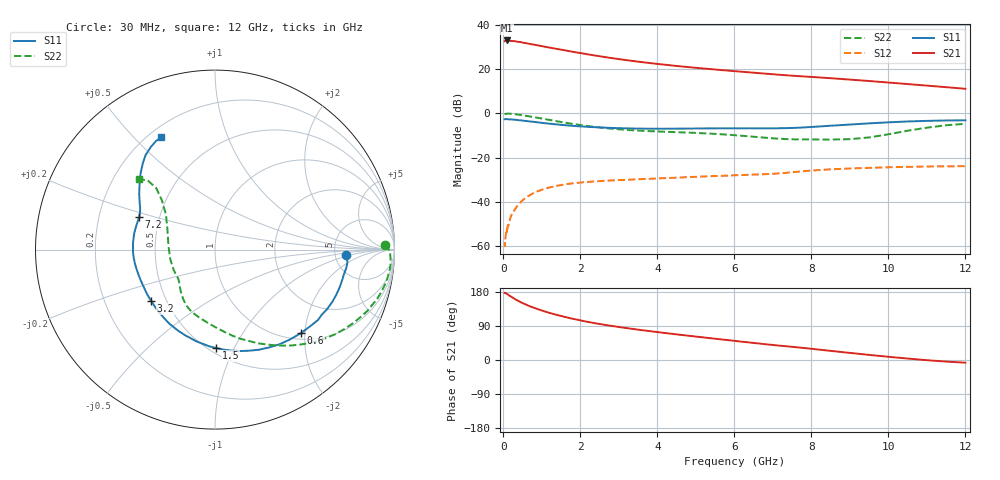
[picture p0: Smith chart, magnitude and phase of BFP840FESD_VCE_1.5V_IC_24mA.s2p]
! Infineon Technologies  Discrete & RF Semiconductors
! BFP840FESD
! VCE =  1.5 V,  IC =  24 mA
! Common Emitter S-Parameters:  May 2012
# GHz  S  MA  R  50
!  f  S11  S21  S12  S22
! GHz  MAG  ANG  MAG  ANG  MAG  ANG  MAG  ANG
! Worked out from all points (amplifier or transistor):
!   103 points, 30 MHz to 12 GHz, reference 50 ohm
!   highest |S21| = 32.9 dB at 80 MHz (marker M1)
!   |S21| within 3 dB of that: start of sweep to 1.126 GHz
!   unconditionally stable (mu >= 1): 5.597 GHz to end of sweep
!   at 400 MHz: K = 0.15, MSG = 36.7 dB, |S12| = -41.1 dB
!   at 3.7 GHz: K = 0.78, MSG = 26.3 dB, |S12| = -29.7 dB
!   at 12 GHz: K = 1.10, MAG = 15.6 dB, |S12| = -23.9 dB
!   S11 on the Smith chart (normalised r, x): 30 MHz: 6.37, -0.88; 600 MHz: 1.13, -1.91; 1.5 GHz: 0.54, -0.85; 3.2 GHz: 0.41, -0.30; 7.2 GHz: 0.38, +0.18; 12 GHz: 0.25, +0.60
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0.03  0.7331 -2.5  42.45 177.0  0.0012 95.8  0.9489 1.7
0.04  0.7339 -3.3  42.81 176.5  0.001 110.4  0.9589 0.9
0.05  0.7378 -4.2  43.35 177.2  0.0015 107.4  0.9675 0.2
0.08  0.7403 -6.7  44.06 175.1  0.0019 90.6  0.9776 -2.2
0.3  0.7152 -24.1  42.35 160.8  0.0068 76.4  0.9537 -14.8
0.35  0.7071 -28.0  41.4 157.7  0.0079 76.9  0.943 -17.2
0.45  0.6951 -34.3  40.55 152.5  0.01 73.6  0.9162 -21.7
0.6  0.6677 -44.2  38.1 145.5  0.0128 68.9  0.8722 -28.0
0.8  0.6386 -55.6  35.35 137.5  0.0161 63.5  0.8161 -35.5
1  0.6089 -66.4  32.73 130.4  0.0188 58.9  0.7601 -42.3
1.3  0.5699 -80.8  29.28 121.3  0.0222 53.2  0.6826 -51.5
1.5  0.5478 -89.5  27.27 116.1  0.024 50.0  0.6358 -57.1
1.8  0.5212 -101.7  24.44 108.7  0.0262 45.8  0.576 -65.1
2.1  0.5001 -112.1  22.11 102.4  0.0279 42.7  0.5277 -72.1
2.6  0.475 -126.9  18.77 93.3  0.0298 39.1  0.4684 -82.2
3.2  0.4566 -141.1  15.83 84.2  0.0315 36.9  0.4222 -92.2
4.1  0.448 -158.3  12.74 72.4  0.0341 36.0  0.3856 -104.1
6.1  0.4577 173.3  8.802 49.4  0.0401 36.0  0.3156 -125.7
7.2  0.4602 156.8  7.374 37.6  0.0443 38.8  0.2653 -139.6
8.5  0.5234 143.8  6.193 24.1  0.0543 35.7  0.255 -168.4
10.5  0.6534 126.3  4.569 3.9  0.0618 27.8  0.404 137.1
12  0.6943 115.6  3.57 -7.1  0.0637 24.7  0.5793 137.2
